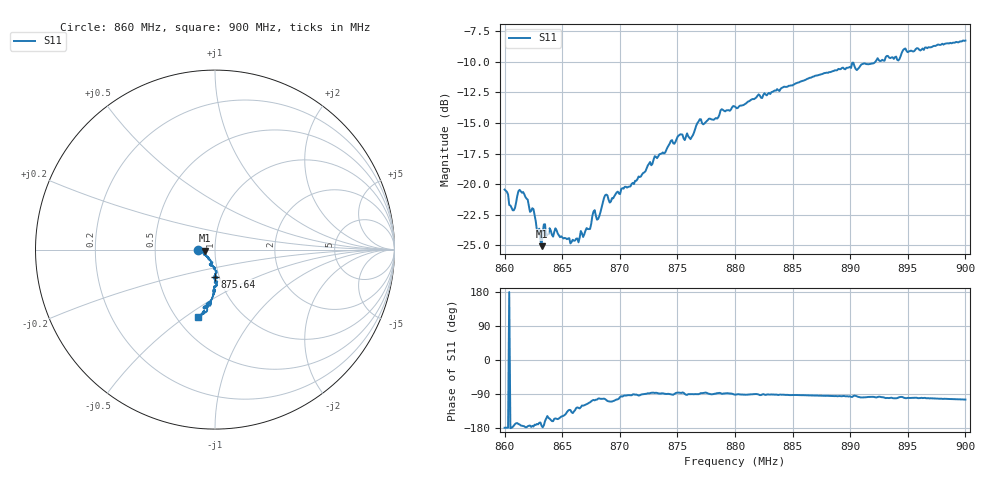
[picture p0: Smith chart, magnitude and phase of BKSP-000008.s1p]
# MHz S MA R 50
!  freq  S11
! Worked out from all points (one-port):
!   400 points, 860 MHz to 900 MHz, reference 50 ohm
!   lowest |S11| = -25.1 dB at 863.21 MHz (marker M1), VSWR 1.12, Z = 44.7 - j0.589 ohm
!   |S11| at or under -10 dB: start of sweep to 892.18 MHz
!   S11 on the Smith chart (normalised r, x): 860 MHz: 0.83, -0.00; 875.64 MHz: 0.96, -0.30; 900 MHz: 0.63, -0.56
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860  0.09507 -178.8
860.7018  0.07825 -176.7
861.203  0.09373 -168.9
861.604  0.09293 -174.2
862.2055  0.07707 -173.0
862.5063  0.07908 -175.6
863.208  0.05581 -173.2
863.4085  0.06849 -172.4
863.609  0.06138 -154.3
864.411  0.06603 -154.2
865.0125  0.06061 -148.4
866.416  0.05787 -126.5
866.6165  0.06435 -124.5
867.4185  0.06563 -111.5
867.8195  0.07834 -106.5
868.1203  0.07213 -101.9
868.7218  0.09003 -103.2
869.1228  0.08412 -109.3
870.0251  0.09113 -97.5
875.0376  0.157 -86.2
875.6391  0.1515 -89.5
876.1404  0.1528 -90.2
876.9424  0.1843 -88.6
880.0501  0.2067 -91.4
885.0627  0.2548 -92.4
890.0752  0.2987 -97.3
895.0877  0.3491 -100.2
900  0.3863 -104.4
